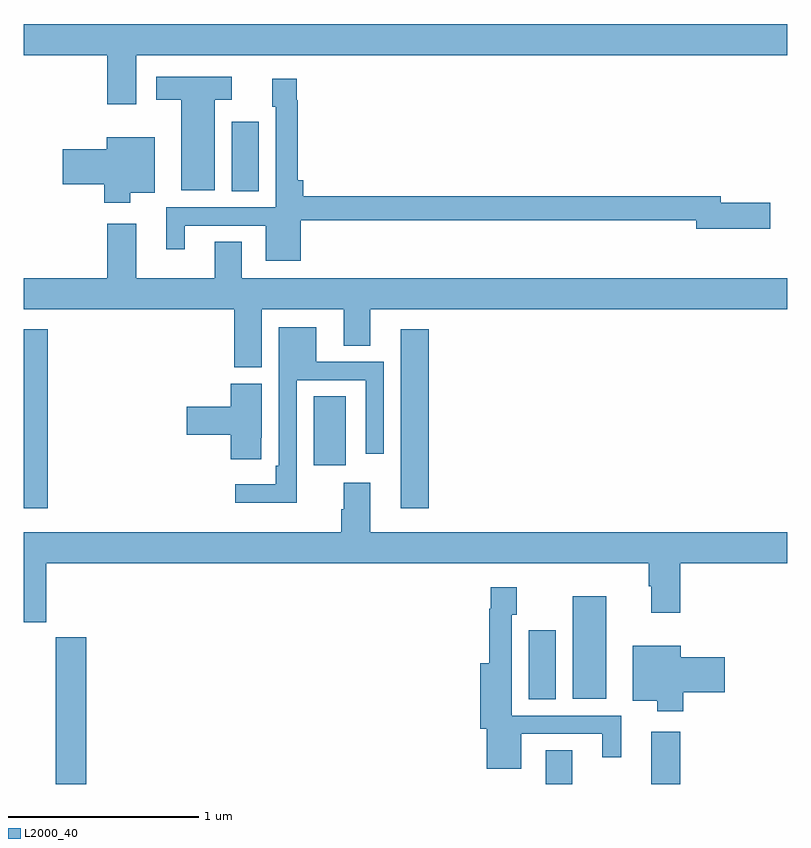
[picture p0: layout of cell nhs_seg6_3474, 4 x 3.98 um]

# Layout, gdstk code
import gdstk
lib = gdstk.Library(unit=1e-6, precision=1e-09)
def R(c, l, rs):  # rectangles x0, y0, x1, y1
    for r in rs: c.add(gdstk.rectangle(r[:2], r[2:], *l))
def P(c, l, *ps):  # polygons
    for p in ps: c.add(gdstk.Polygon(p, *l))
L2000_40 = (2000, 40)

nhs_seg6_3474 = lib.new_cell('nhs_seg6_3474')
R(nhs_seg6_3474, L2000_40, [(315.166,959.5,315.326,960.268), (317.735,959.5,317.875,959.678), (318.287,959.5,318.44,959.773), (317.645,959.944,317.788,960.307), (317.876,959.948,318.052,960.484), (315,960.945,315.125,961.885), (316.976,960.945,317.123,961.885), (316.52,961.17,316.687,961.532), (316.088,962.608,316.231,962.971)])
P(nhs_seg6_3474, L2000_40, [(315,963.32),(315.437,963.32),(315.437,963.063),(315.589,963.063),(315.589,963.32),(319,963.32),(319,963.484),(315,963.484)],
  [(316,963.086),(316.09,963.086),(316.09,963.208),(315.693,963.208),(315.693,963.086),(315.824,963.086),(315.824,962.612),(316,962.612)],
  [(316.45,962.454),(318.524,962.454),(318.524,962.411),(318.913,962.411),(318.913,962.546),(318.652,962.546),(318.652,962.582),(316.463,962.582),(316.463,962.665),(316.436,962.665),(316.436,963.083),(316.429,963.083),(316.429,963.196),(316.301,963.196),(316.301,963.051),(316.32,963.051),(316.32,962.523),(315.746,962.523),(315.746,962.304),(315.844,962.304),(315.844,962.427),(316.268,962.427),(316.268,962.243),(316.45,962.243)],
  [(315.556,962.6),(315.685,962.6),(315.685,962.89),(315.434,962.89),(315.434,962.828),(315.204,962.828),(315.204,962.645),(315.422,962.645),(315.422,962.546),(315.556,962.546)],
  [(316.246,961.988),(316.676,961.988),(316.676,961.798),(316.816,961.798),(316.816,961.988),(319,961.988),(319,962.152),(316.141,962.152),(316.141,962.342),(316.001,962.342),(316.001,962.152),(315.589,962.152),(315.589,962.437),(315.437,962.437),(315.437,962.152),(315,962.152),(315,961.988),(316.103,961.988),(316.103,961.684),(316.246,961.684)],
  [(316.431,961.617),(316.791,961.617),(316.791,961.23),(316.887,961.23),(316.887,961.713),(316.531,961.713),(316.531,961.894),(316.335,961.894),(316.335,961.168),(316.319,961.168),(316.319,961.072),(316.107,961.072),(316.107,960.974),(316.431,960.974)],
  [(316.245,961.315),(316.246,961.315),(316.246,961.599),(316.085,961.599),(316.085,961.478),(315.852,961.478),(315.852,961.331),(316.085,961.331),(316.085,961.203),(316.245,961.203)],
  [(315.118,960.656),(318.275,960.656),(318.275,960.536),(318.287,960.536),(318.287,960.399),(318.44,960.399),(318.44,960.656),(319,960.656),(319,960.82),(316.816,960.82),(316.816,961.078),(316.676,961.078),(316.676,960.941),(316.664,960.941),(316.664,960.82),(315,960.82),(315,960.347),(315.118,960.347)],
  [(317.608,959.763),(318.032,959.763),(318.032,959.64),(318.13,959.64),(318.13,959.859),(317.556,959.859),(317.556,960.387),(317.583,960.387),(317.583,960.532),(317.448,960.532),(317.448,960.419),(317.44,960.419),(317.44,960.133),(317.393,960.133),(317.393,959.789),(317.426,959.789),(317.426,959.579),(317.608,959.579)],
  [(318.455,959.981),(318.673,959.981),(318.673,960.164),(318.442,960.164),(318.442,960.226),(318.191,960.226),(318.191,959.936),(318.32,959.936),(318.32,959.882),(318.455,959.882)])

lib.write_gds('nhs_seg6_3474.gds')
